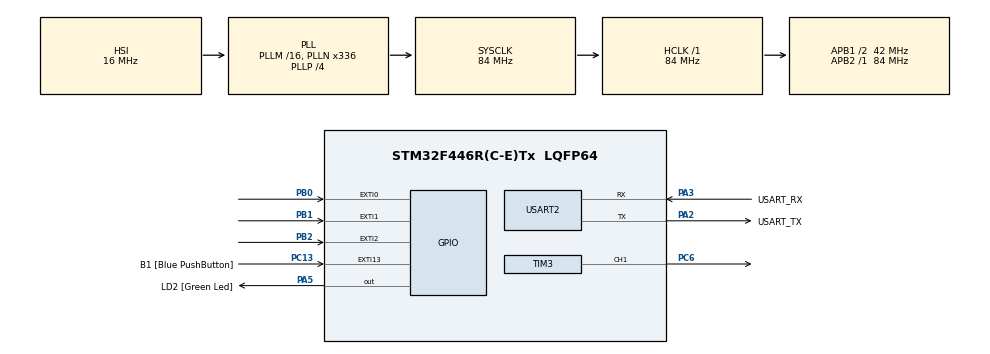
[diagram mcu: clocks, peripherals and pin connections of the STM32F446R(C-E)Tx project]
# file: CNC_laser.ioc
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IWDG.Prescaler=IWDG_PRESCALER_64
Mcu.Family=STM32F4
Mcu.Name=STM32F446R(C-E)Tx
Mcu.Package=LQFP64
NVIC.EXTI0_IRQn=true\:0\:0\:false\:false\:true\:true\:true\:true
NVIC.EXTI1_IRQn=true\:0\:0\:false\:false\:true\:true\:true\:true
NVIC.EXTI2_IRQn=true\:0\:0\:false\:false\:true\:true\:true\:true
NVIC.PriorityGroup=NVIC_PRIORITYGROUP_0
NVIC.TIM2_IRQn=true\:0\:0\:false\:false\:true\:true\:true\:true
NVIC.TIM4_IRQn=true\:0\:0\:false\:false\:true\:true\:true\:true
NVIC.USART2_IRQn=true\:0\:0\:false\:false\:true\:true\:true\:true
PA13.GPIO_Label=TMS
PA13.Mode=Serial_Wire
PA13.Signal=SYS_JTMS-SWDIO
PA14.GPIO_Label=TCK
PA14.Mode=Serial_Wire
PA14.Signal=SYS_JTCK-SWCLK
PA2.GPIO_Label=USART_TX
PA2.Mode=Asynchronous
PA2.Signal=USART2_TX
PA3.GPIO_Label=USART_RX
PA3.Mode=Asynchronous
PA3.Signal=USART2_RX
PA5.GPIO_Label=LD2 [Green Led]
PA5.Signal=GPIO_Output
PB0.GPIO_ModeDefaultEXTI=GPIO_MODE_IT_FALLING
PB0.GPIO_PuPd=GPIO_PULLDOWN
PB0.Signal=GPXTI0
PB1.GPIO_ModeDefaultEXTI=GPIO_MODE_IT_FALLING
PB1.GPIO_PuPd=GPIO_PULLDOWN
PB1.Signal=GPXTI1
PB2.GPIO_ModeDefaultEXTI=GPIO_MODE_IT_FALLING
PB2.GPIO_PuPd=GPIO_PULLDOWN
PB2.Signal=GPXTI2
PB3.GPIO_Label=SWO
PB3.Signal=SYS_JTDO-SWO
PC13.GPIO_Label=B1 [Blue PushButton]
PC13.GPIO_ModeDefaultEXTI=GPIO_MODE_IT_FALLING
PC13.Signal=GPXTI13
PC14-OSC32_IN.Mode=LSE-External-Oscillator
PC14-OSC32_IN.Signal=RCC_OSC32_IN
PC15-OSC32_OUT.Mode=LSE-External-Oscillator
PC15-OSC32_OUT.Signal=RCC_OSC32_OUT
PC6.Signal=S_TIM3_CH1
PH0-OSC_IN.Mode=HSE-External-Oscillator
PH0-OSC_IN.Signal=RCC_OSC_IN
PH1-OSC_OUT.Mode=HSE-External-Oscillator
PH1-OSC_OUT.Signal=RCC_OSC_OUT
ProjectManager.HeapSize=0x200
ProjectManager.StackSize=0x400
ProjectManager.TargetToolchain=STM32CubeIDE
RCC.48MHZClocksFreq_Value=84000000
RCC.AHBFreq_Value=84000000
RCC.APB1CLKDivider=RCC_HCLK_DIV2
RCC.APB1Freq_Value=42000000
RCC.APB1TimFreq_Value=84000000
RCC.APB2Freq_Value=84000000
RCC.APB2TimFreq_Value=84000000
RCC.CortexFreq_Value=84000000
RCC.FLatency-AdvancedSettings=FLASH_LATENCY_2
RCC.HCLKFreq_Value=84000000
RCC.HSE_VALUE=8000000
RCC.HSI_VALUE=16000000
RCC.PLLN=336
RCC.PLLP=RCC_PLLP_DIV4
RCC.SYSCLKFreq_VALUE=84000000
RCC.SYSCLKSource=RCC_SYSCLKSOURCE_PLLCLK
RCC.USBFreq_Value=168000000
RCC.VCOOutputFreq_Value=336000000
SH.S_TIM3_CH1.0=TIM3_CH1,PWM Generation1 CH1
TIM2.Prescaler=83
TIM3.Channel-PWM\ Generation1\ CH1=TIM_CHANNEL_1
TIM3.Period=999
TIM3.Prescaler=83
TIM4.Prescaler=83
USART2.VirtualMode=VM_ASYNC
VP_IWDG_VS_IWDG.Mode=IWDG_Activate
VP_TIM2_VS_ClockSourceINT.Mode=Internal
VP_TIM3_VS_ClockSourceINT.Mode=Internal
VP_TIM4_VS_ClockSourceINT.Mode=Internal
board=NUCLEO-F446RE

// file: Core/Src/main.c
/* USER CODE BEGIN Header */
/**
  ******************************************************************************
  * @file           : main.c
  * @brief          : Main program body
  ******************************************************************************
  * @attention
  *
  * Copyright (c) 2026 STMicroelectronics.
  * All rights reserved.
  *
  * This software is licensed under terms that can be found in the LICENSE file
  * in the root directory of this software component.
  * If no LICENSE file comes with this software, it is provided AS-IS.
  *
  ******************************************************************************
  */
/* USER CODE END Header */
#include "main.h"

/* USER CODE BEGIN Includes */
/* todos mis modulos propios. cada uno maneja una parte de la maquina
 * por separado (motores x/y, eje z, laser, enable de motores, homing,
 * parser de gcode), asi el main.c queda mas que nada como el que
 * conecta todo y maneja la comunicacion */
#include "corexy_config.h"
#include "homing.h"
#include "motor_enable.h"
#include "z_axis.h"
#include "laser.h"
#include "gcode_parser.h"
#include "stepper.h"
#include <stdio.h>
#include <math.h>
#include <string.h>
/* USER CODE END Includes */

TIM_HandleTypeDef htim2;
TIM_HandleTypeDef htim3;
TIM_HandleTypeDef htim4;

UART_HandleTypeDef huart2;

/* USER CODE BEGIN PV */

/* bandera de alarma: se activa cuando un final de carrera se dispara
 * de improviso en medio de un movimiento normal (no durante el homing
 * a proposito). mientras esta activa, el firmware rechaza cualquier
 * comando nuevo hasta que se mande $X a mano. asi me aseguro de que si
 * la maquina choco contra algo, no siga como si nada mientras laser
 * grbl le sigue mandando lineas del trabajo */
static volatile bool alarm_active = false;
/* esta otra bandera es para que el mensaje de alarma se mande una sola
 * vez (desde el main, nunca desde la interrupcion) aunque el switch
 * rebote mecanicamente y dispare la interrupcion varias veces por una
 * sola pulsada real */
static volatile bool alarm_message_pending = false;

/* esto es el "look ahead" simplificado: en vez de ejecutar cada linea
 * de gcode apenas llega, guardo el movimiento pendiente y espero a ver
 * la linea siguiente antes de decidir si freno al final o no. si el
 * siguiente movimiento sigue exactamente la misma direccion (mismo
 * signo de avance en x e y), no hace falta frenar entre uno y otro -
 * eso es lo que evita que el laser se quede pegado quemando de mas en
 * cada microsegmento del raster */
typedef struct {
    bool valid;
    float target_x, target_y, feed;
    float dir_x, dir_y;
    bool is_rapid;        /* true = era un G0, apagar el láser al ejecutar */
    bool has_laser_s;     /* true = esta línea traía S */
    float laser_s;        /* el valor de S a aplicar justo al ejecutar */
} PendingMove;
static PendingMove g_pending = {0};
static uint32_t g_last_line_tick = 0;
/* si no llega una linea nueva en este tiempo, asumo que no hay
 * continuacion y ejecuto el movimiento pendiente frenando normal (por
 * ejemplo, si justo esa era la ultima linea del archivo) */
#define LOOKAHEAD_TIMEOUT_MS 80

/* banderas para mandar mensajes desde el main en vez de desde las
 * interrupciones. esto es clave: si se manda un HAL_UART_Transmit()
 * directo desde una isr, puede chocar con una transmision que ya este
 * en curso desde el main, y el uart queda trabado para siempre. por
 * eso la isr SOLO prende una bandera, y el unico que transmite de
 * verdad es el main() */
static volatile uint8_t welcome_pending = 0;
static volatile uint8_t status_report_pending = 0;

/* buffer circular para los bytes que van llegando por uart. hace falta
 * porque mientras un movimiento esta en curso (stepper_move_to es
 * bloqueante) el main no puede ir leyendo el uart activamente, pero la
 * interrupcion de recepcion si sigue funcionando y puede ir guardando
 * los bytes nuevos aca hasta que el main este libre para procesarlos */
#define RX_RING_SIZE 256
static volatile uint8_t  rx_ring[RX_RING_SIZE];
static volatile uint16_t rx_ring_head = 0;
static volatile uint16_t rx_ring_tail = 0;

#define GCODE_LINE_BUF_SIZE 96
static uint8_t g_absolute_mode = 1; /* 1 = G90 (absoluto, por defecto en Grbl), 0 = G91 (relativo) */
static GcodeCommandType g_last_motion = GCODE_G1;
static float g_last_feed_mm_min = 0.0f; /* el f es modal: si una linea no lo trae, se sigue usando el ultimo que llego */
static uint8_t  rx_byte;
static char     line_buf[GCODE_LINE_BUF_SIZE];
static uint16_t line_idx = 0;
static volatile uint8_t line_ready = 0; /* esta ya no se usa para nada (quedo de una version vieja), pero no molesta */
/* USER CODE END PV */

void SystemClock_Config(void);
static void MX_GPIO_Init(void);
static void MX_USART2_UART_Init(void);
static void MX_TIM2_Init(void);
static void MX_TIM3_Init(void);
static void MX_TIM4_Init(void);
/* USER CODE BEGIN PFP */
static void flush_pending_move(bool exit_at_cruise);
static void send_status_report(UART_HandleTypeDef *huart);
static void process_gcode_line(char *raw_line);
/* USER CODE END PFP */

int main(void)
{

  /* MCU Configuration--------------------------------------------------------*/

  /* Reset of all peripherals, Initializes the Flash interface and the Systick. */
  HAL_Init();

  /* Configure the system clock */
  SystemClock_Config();

  /* Initialize all configured peripherals */
  MX_GPIO_Init();
  MX_USART2_UART_Init();
  MX_TIM2_Init();
  MX_TIM3_Init();
  MX_TIM4_Init();
  /* USER CODE BEGIN 2 */

  /* inicializo todos mis modulos. el orden ac no importa mucho entre
   * ellos, lo que si importa es que esto pase despues de que el cubemx
   * ya configuro los gpio y los timers arriba */
  homing_init();
  motor_enable_init();
  z_axis_init(&htim4);
  stepper_init(&htim2);
  laser_init(&htim3, TIM_CHANNEL_1);
  HAL_UART_Receive_IT(&huart2, &rx_byte, 1); /* arranco la recepcion por interrupcion, un byte a la vez */

  /* mando el mensaje de bienvenida tipo grbl apenas arranca, para el
   * caso de que algun programa ya este escuchando el puerto desde antes
   * de que yo conecte el cable */
  const char *welcome = "\r\nGrbl 1.1h ['$' for help]\r\n";
  HAL_UART_Transmit(&huart2, (uint8_t*)welcome, strlen(welcome), 100);
  stepper_init(&htim2); /* esto quedo duplicado de una version anterior, no hace falta pero tampoco molesta */
  HAL_UART_Receive_IT(&huart2, &rx_byte, 1);
  /* USER CODE END 2 */

  /* Infinite loop */
  /* USER CODE BEGIN WHILE */
  while (1)
  {
	  /* reviso las banderas de mensajes pendientes ANTES que nada mas,
	   * asi salen apenas se puede, no dependen de que termine de
	   * procesar otra cosa primero */
	  if (alarm_message_pending) {
	      alarm_message_pending = false;
	      const char *alarm = "ALARM: Final de carrera activado durante el movimiento\r\n";
	      HAL_UART_Transmit(&huart2, (uint8_t*)alarm, strlen(alarm), 100);
	  }
	  if (welcome_pending) {
	      welcome_pending = 0;
	      const char *welcome = "\r\nGrbl 1.1h ['$' for help]\r\n";
	      HAL_UART_Transmit(&huart2, (uint8_t*)welcome, strlen(welcome), 100);
	  }
      if (status_report_pending) {
          status_report_pending = 0;
          send_status_report(&huart2);
      }

      /* si quedo un movimiento pendiente esperando a ver si la proxima
       * linea continua en la misma direccion, y paso demasiado tiempo
       * sin que llegue nada nuevo, lo ejecuto igual frenando normal.
       * esto es importante para que no se quede "trabado" esperando
       * para siempre el ultimo segmento de un trabajo */
      if (g_pending.valid && (HAL_GetTick() - g_last_line_tick > LOOKAHEAD_TIMEOUT_MS)) {
          flush_pending_move(false); /* frena normal, no llegó continuación */
      }

      /* vacio el buffer circular armando lineas completas de texto.
       * cuando encuentro un \n o \r, ahi se termino una linea y la
       * mando a procesar */
      while (rx_ring_tail != rx_ring_head) {
          uint8_t b = rx_ring[rx_ring_tail];
          rx_ring_tail = (rx_ring_tail + 1) % RX_RING_SIZE;

          if (b == '\n' || b == '\r') {
              if (line_idx > 0) {
                  line_buf[line_idx] = '\0';
                  process_gcode_line(line_buf);
                  line_idx = 0;

                  /* Chequeamos el '?' pendiente DESPUÉS de cada línea,
                   * no solo una vez por vuelta del while externo, porque
                   * este bucle interno puede seguir de largo procesando
                   * muchas líneas sin volver arriba mientras dura un trabajo. */
                  if (status_report_pending) {
                      status_report_pending = 0;
                      send_status_report(&huart2);
                  }
              }
          } else if (line_idx < GCODE_LINE_BUF_SIZE - 1) {
              line_buf[line_idx++] = (char)b;
          }
      }
    /* USER CODE END WHILE */

    }
}

void SystemClock_Config(void)
{
  /* esto es todo generado por el cubemx, no lo toque. configura el
   * clock del sistema a 84mhz usando el pll a partir del oscilador
   * interno (hsi) */
  RCC_OscInitTypeDef RCC_OscInitStruct = {0};
  RCC_ClkInitTypeDef RCC_ClkInitStruct = {0};

  /** Configure the main internal regulator output voltage
  */
  __HAL_RCC_PWR_CLK_ENABLE();
  __HAL_PWR_VOLTAGESCALING_CONFIG(PWR_REGULATOR_VOLTAGE_SCALE3);

  /** Initializes the RCC Oscillators according to the specified parameters
  * in the RCC_OscInitTypeDef structure.
  */
  RCC_OscInitStruct.OscillatorType = RCC_OSCILLATORTYPE_HSI;
  RCC_OscInitStruct.HSIState = RCC_HSI_ON;
  RCC_OscInitStruct.HSICalibrationValue = RCC_HSICALIBRATION_DEFAULT;
  RCC_OscInitStruct.PLL.PLLState = RCC_PLL_ON;
  RCC_OscInitStruct.PLL.PLLSource = RCC_PLLSOURCE_HSI;
  RCC_OscInitStruct.PLL.PLLM = 16;
  RCC_OscInitStruct.PLL.PLLN = 336;
  RCC_OscInitStruct.PLL.PLLP = RCC_PLLP_DIV4;
  RCC_OscInitStruct.PLL.PLLQ = 2;
  RCC_OscInitStruct.PLL.PLLR = 2;
  if (HAL_RCC_OscConfig(&RCC_OscInitStruct) != HAL_OK)
  {
    Error_Handler();
  }

  /** Initializes the CPU, AHB and APB buses clocks
  */
  RCC_ClkInitStruct.ClockType = RCC_CLOCKTYPE_HCLK|RCC_CLOCKTYPE_SYSCLK
                              |RCC_CLOCKTYPE_PCLK1|RCC_CLOCKTYPE_PCLK2;
  RCC_ClkInitStruct.SYSCLKSource = RCC_SYSCLKSOURCE_PLLCLK;
  RCC_ClkInitStruct.AHBCLKDivider = RCC_SYSCLK_DIV1;
  RCC_ClkInitStruct.APB1CLKDivider = RCC_HCLK_DIV2;
  RCC_ClkInitStruct.APB2CLKDivider = RCC_HCLK_DIV1;

  if (HAL_RCC_ClockConfig(&RCC_ClkInitStruct, FLASH_LATENCY_2) != HAL_OK)
  {
    Error_Handler();
  }
}

static void MX_TIM2_Init(void)
{
  /* tim2 es el timer que uso para generar los pasos de x/y (stepper.c).
   * el prescaler=83 sobre un clock de apb1 de 84mhz da un tick de
   * exactamente 1us, que es la unidad que uso en todo el codigo de
   * movimiento para calcular los periodos entre pasos */

  TIM_ClockConfigTypeDef sClockSourceConfig = {0};
  TIM_MasterConfigTypeDef sMasterConfig = {0};

  htim2.Instance = TIM2;
  htim2.Init.Prescaler = 83;
  htim2.Init.CounterMode = TIM_COUNTERMODE_UP;
  htim2.Init.Period = 4294967295;
  htim2.Init.ClockDivision = TIM_CLOCKDIVISION_DIV1;
  htim2.Init.AutoReloadPreload = TIM_AUTORELOAD_PRELOAD_DISABLE;
  if (HAL_TIM_Base_Init(&htim2) != HAL_OK)
  {
    Error_Handler();
  }
  sClockSourceConfig.ClockSource = TIM_CLOCKSOURCE_INTERNAL;
  if (HAL_TIM_ConfigClockSource(&htim2, &sClockSourceConfig) != HAL_OK)
  {
    Error_Handler();
  }
  sMasterConfig.MasterOutputTrigger = TIM_TRGO_RESET;
  sMasterConfig.MasterSlaveMode = TIM_MASTERSLAVEMODE_DISABLE;
  if (HAL_TIMEx_MasterConfigSynchronization(&htim2, &sMasterConfig) != HAL_OK)
  {
    Error_Handler();
  }

}

static void MX_TIM3_Init(void)
{
  /* tim3 genera el pwm del laser (canal 1, pin pc6). period=999 define
   * la frecuencia del pwm (con prescaler=83 sobre 84mhz, cada tick es
   * 1us, entonces 999+1 ticks de periodo = 1khz de pwm, que esta
   * dentro de lo que acepta el modulo laser). el duty cycle (0 a 999)
   * es lo que controla laser.c segun la potencia s que venga del gcode */

  TIM_ClockConfigTypeDef sClockSourceConfig = {0};
  TIM_MasterConfigTypeDef sMasterConfig = {0};
  TIM_OC_InitTypeDef sConfigOC = {0};

  htim3.Instance = TIM3;
  htim3.Init.Prescaler = 83;
  htim3.Init.CounterMode = TIM_COUNTERMODE_UP;
  htim3.Init.Period = 999;
  htim3.Init.ClockDivision = TIM_CLOCKDIVISION_DIV1;
  htim3.Init.AutoReloadPreload = TIM_AUTORELOAD_PRELOAD_DISABLE;
  if (HAL_TIM_Base_Init(&htim3) != HAL_OK)
  {
    Error_Handler();
  }
  sClockSourceConfig.ClockSource = TIM_CLOCKSOURCE_INTERNAL;
  if (HAL_TIM_ConfigClockSource(&htim3, &sClockSourceConfig) != HAL_OK)
  {
    Error_Handler();
  }
  if (HAL_TIM_PWM_Init(&htim3) != HAL_OK)
  {
    Error_Handler();
  }
  sMasterConfig.MasterOutputTrigger = TIM_TRGO_RESET;
  sMasterConfig.MasterSlaveMode = TIM_MASTERSLAVEMODE_DISABLE;
  if (HAL_TIMEx_MasterConfigSynchronization(&htim3, &sMasterConfig) != HAL_OK)
  {
    Error_Handler();
  }
  sConfigOC.OCMode = TIM_OCMODE_PWM1;
  sConfigOC.Pulse = 0;
  sConfigOC.OCPolarity = TIM_OCPOLARITY_HIGH;
  sConfigOC.OCFastMode = TIM_OCFAST_DISABLE;
  if (HAL_TIM_PWM_ConfigChannel(&htim3, &sConfigOC, TIM_CHANNEL_1) != HAL_OK)
  {
    Error_Handler();
  }
  HAL_TIM_MspPostInit(&htim3);

}

static void MX_TIM4_Init(void)
{
  /* tim4 es el timer de pasos del eje z (mismo criterio que tim2 pero
   * para z_axis.c) */

  TIM_ClockConfigTypeDef sClockSourceConfig = {0};
  TIM_MasterConfigTypeDef sMasterConfig = {0};

  htim4.Instance = TIM4;
  htim4.Init.Prescaler = 83;
  htim4.Init.CounterMode = TIM_COUNTERMODE_UP;
  htim4.Init.Period = 65535;
  htim4.Init.ClockDivision = TIM_CLOCKDIVISION_DIV1;
  htim4.Init.AutoReloadPreload = TIM_AUTORELOAD_PRELOAD_DISABLE;
  if (HAL_TIM_Base_Init(&htim4) != HAL_OK)
  {
    Error_Handler();
  }
  sClockSourceConfig.ClockSource = TIM_CLOCKSOURCE_INTERNAL;
  if (HAL_TIM_ConfigClockSource(&htim4, &sClockSourceConfig) != HAL_OK)
  {
    Error_Handler();
  }
  sMasterConfig.MasterOutputTrigger = TIM_TRGO_RESET;
  sMasterConfig.MasterSlaveMode = TIM_MASTERSLAVEMODE_DISABLE;
  if (HAL_TIMEx_MasterConfigSynchronization(&htim4, &sMasterConfig) != HAL_OK)
  {
    Error_Handler();
  }

}

static void MX_USART2_UART_Init(void)
{
  /* usart2 (pa2/pa3) es el puerto que usa la nucleo para salir por el
   * mismo cable usb del st-link como puerto com virtual. por eso no
   * hace falta ningun adaptador externo para hablar con la pc */

  huart2.Instance = USART2;
  huart2.Init.BaudRate = 115200;
  huart2.Init.WordLength = UART_WORDLENGTH_8B;
  huart2.Init.StopBits = UART_STOPBITS_1;
  huart2.Init.Parity = UART_PARITY_NONE;
  huart2.Init.Mode = UART_MODE_TX_RX;
  huart2.Init.HwFlowCtl = UART_HWCONTROL_NONE;
  huart2.Init.OverSampling = UART_OVERSAMPLING_16;
  if (HAL_UART_Init(&huart2) != HAL_OK)
  {
    Error_Handler();
  }

}

static void MX_GPIO_Init(void)
{
  GPIO_InitTypeDef GPIO_InitStruct = {0};

  /* GPIO Ports Clock Enable */
  __HAL_RCC_GPIOC_CLK_ENABLE();
  __HAL_RCC_GPIOH_CLK_ENABLE();
  __HAL_RCC_GPIOA_CLK_ENABLE();
  __HAL_RCC_GPIOB_CLK_ENABLE();

  /*Configure GPIO pin Output Level */
  HAL_GPIO_WritePin(LD2_GPIO_Port, LD2_Pin, GPIO_PIN_RESET);

  /*Configure GPIO pin : B1_Pin */
  GPIO_InitStruct.Pin = B1_Pin;
  GPIO_InitStruct.Mode = GPIO_MODE_IT_FALLING;
  GPIO_InitStruct.Pull = GPIO_NOPULL;
  HAL_GPIO_Init(B1_GPIO_Port, &GPIO_InitStruct);

  /*Configure GPIO pin : LD2_Pin */
  GPIO_InitStruct.Pin = LD2_Pin;
  GPIO_InitStruct.Mode = GPIO_MODE_OUTPUT_PP;
  GPIO_InitStruct.Pull = GPIO_NOPULL;
  GPIO_InitStruct.Speed = GPIO_SPEED_FREQ_LOW;
  HAL_GPIO_Init(LD2_GPIO_Port, &GPIO_InitStruct);

  /*Configure GPIO pins : PB0 PB1 PB2 */
  /* estos 3 son los finales de carrera de x, y, z. los configure como
   * interrupcion externa con flanco descendente (no como entrada
   * comun) para que cualquier toque de un switch en medio de un
   * movimiento normal dispare al toque la parada de emergencia, sin
   * depender de que el codigo este en ese momento revisando el pin */
  GPIO_InitStruct.Pin = GPIO_PIN_0|GPIO_PIN_1|GPIO_PIN_2;
  GPIO_InitStruct.Mode = GPIO_MODE_IT_FALLING;
  GPIO_InitStruct.Pull = GPIO_PULLDOWN;
  HAL_GPIO_Init(GPIOB, &GPIO_InitStruct);

  /* EXTI interrupt init*/
  HAL_NVIC_SetPriority(EXTI0_IRQn, 0, 0);
  HAL_NVIC_EnableIRQ(EXTI0_IRQn);

  HAL_NVIC_SetPriority(EXTI1_IRQn, 0, 0);
  HAL_NVIC_EnableIRQ(EXTI1_IRQn);

  HAL_NVIC_SetPriority(EXTI2_IRQn, 0, 0);
  HAL_NVIC_EnableIRQ(EXTI2_IRQn);

  /* USER CODE BEGIN MX_GPIO_Init_2 */
  /* ac configuro a mano los pines de step/dir de los motores a y b
   * (x/y) y del eje z, todos en el puerto c. los dejo como salida
   * push-pull normal, nada de especial, porque los manejo directo con
   * HAL_GPIO_WritePin desde stepper.c/z_axis.c, no uso ningun
   * periferico de hardware para esto (son gpio comunes, el timing lo
   * hace software con el timer de pasos) */
  GPIO_InitTypeDef motor_gpio = {0};
  __HAL_RCC_GPIOC_CLK_ENABLE(); /* ya está habilitado más arriba, pero no molesta repetirlo */

  motor_gpio.Pin = GPIO_PIN_0 | GPIO_PIN_1 | GPIO_PIN_2 | GPIO_PIN_3 | GPIO_PIN_4 | GPIO_PIN_5;
  motor_gpio.Mode = GPIO_MODE_OUTPUT_PP;
  motor_gpio.Pull = GPIO_NOPULL;
  motor_gpio.Speed = GPIO_SPEED_FREQ_HIGH;
  HAL_GPIO_Init(GPIOC, &motor_gpio);
  /* USER CODE END MX_GPIO_Init_2 */
}

/* USER CODE BEGIN 4 */

/* convierte un float a texto con 3 decimales fijos, sin usar printf con
 * %f (que en este toolchain embebido no siempre anda bien con floats
 * sin configuracion extra, asi que lo hago a mano con enteros) */
static void format_float3(float value, char *out, size_t out_size)
{
    int sign = (value < 0.0f) ? -1 : 1;
    float absval = value * sign;
    int32_t scaled = (int32_t)lroundf(absval * 1000.0f);
    int32_t whole = scaled / 1000;
    int32_t frac  = scaled % 1000;
    snprintf(out, out_size, "%s%ld.%03ld", (sign < 0) ? "-" : "", (long)whole, (long)frac);
}

/* arma y manda el reporte de estado que laser grbl pide con el
 * caracter '?'. el formato "<Idle|MPos:x,y,z|FS:f,s>" es el que usa
 * grbl de verdad, lo imito para que laser grbl lo entienda y pueda
 * mostrar la posicion actual en su interfaz. por ahora mando z fijo en
 * 0.000 porque no lo estoy reportando todavia (se podria agregar
 * despues si hace falta) */
static void send_status_report(UART_HandleTypeDef *huart)
{
    float x, y;
    stepper_get_position(&x, &y);
    char xs[16], ys[16], msg[64];
    format_float3(x, xs, sizeof(xs));
    format_float3(y, ys, sizeof(ys));
    int len = snprintf(msg, sizeof(msg), "<Idle|MPos:%s,%s,0.000|FS:0,0>\r\n", xs, ys);
    HAL_UART_Transmit(huart, (uint8_t*)msg, len, 100);
}

/* ejecuta el movimiento que quedo "pendiente" esperando a ver si el
 * siguiente seguia la misma direccion. exit_at_cruise le dice a
 * stepper_move_to si tiene que frenar al final o no (eso ya se decidio
 * afuera, comparando con la linea que acaba de llegar).
 *
 * uso una variable static (last_entered_at_cruise) para acordarme como
 * salio el movimiento ANTERIOR, porque eso define como entra este: si
 * el anterior no freno (salio a velocidad de crucero), este tiene que
 * entrar directo a crucero tambien, sin perder tiempo acelerando de
 * nuevo de cero */
static void flush_pending_move(bool exit_at_cruise)
{
    if (!g_pending.valid) return;
    static bool last_entered_at_cruise = false;

    if (g_pending.is_rapid) {
        laser_force_off_for_rapid();
    } else if (g_pending.has_laser_s) {
        laser_set_power(g_pending.laser_s);
    }

    motors_enable();
    stepper_move_to(g_pending.target_x, g_pending.target_y, g_pending.feed,
                     last_entered_at_cruise, exit_at_cruise);
    last_entered_at_cruise = exit_at_cruise;
    g_pending.valid = false;
}

/* esta es la funcion mas importante de todo el firmware: recibe una
 * linea de texto ya armada (sin \r\n) y decide que hacer con ella. se
 * llama una vez por cada linea de gcode que llega completa desde el
 * buffer circular */
static void process_gcode_line(char *raw_line)
{
    char *gcode_str = raw_line;
    uint8_t is_jog = 0;

    /* $X es el comando de grbl para desbloquear la alarma. lo chequeo
     * primero que nada, antes incluso de ver si hay una alarma activa,
     * porque si no nunca se podria salir de la alarma */
    if (raw_line[0] == '$' && raw_line[1] == 'X' && raw_line[2] == '\0') {
        alarm_active = false;
        HAL_UART_Transmit(&huart2, (uint8_t*)"ok\r\n", 4, 100);
        return;
    }

    /* si esta en alarma (por un final de carrera que se activo de
     * improviso), rechazo cualquier otra cosa que llegue hasta que
     * manden $X. ni siquiera llego a parsear la linea */
    if (alarm_active) {
        const char *err = "ALARM: Máquina bloqueada por un final de carrera. Mandá $X para desbloquear.\r\n";
        HAL_UART_Transmit(&huart2, (uint8_t*)err, strlen(err), 100);
        return;
    }

    /* comandos que arrancan con $ son comandos especiales de grbl, no
     * gcode normal */
    if (raw_line[0] == '$') {
        if (raw_line[1] == 'J' && raw_line[2] == '=') {
            /* $J=... es un comando de jog (los botones de flecha de
             * laser grbl mandan esto). le saco el prefijo y lo trato
             * como una linea de gcode normal de ahi en mas */
            gcode_str = &raw_line[3];
            is_jog = 1;
        } else if (raw_line[1] == 'H' && raw_line[2] == '\0') {
            /* $H es homing */
            bool ok = homing_run();
            if (ok) {
                /* homing_run ya deja todo en 0 internamente, pero lo
                 * vuelvo a fijar ac por las dudas, no cuesta nada */
                stepper_set_position(0.0f, 0.0f);
                z_axis_set_position(0.0f);
                HAL_UART_Transmit(&huart2, (uint8_t*)"ok\r\n", 4, 100);
            } else {
                const char *err = "ALARM: Homing falló (algún switch nunca se activó)\r\n";
                HAL_UART_Transmit(&huart2, (uint8_t*)err, strlen(err), 100);
            }
            return;
        } else {
            /* otros comandos $ (tipo $$, $G, etc) por ahora solo los
             * confirmo sin hacer nada, para que laser grbl no se quede
             * esperando una respuesta que nunca llega */
            HAL_UART_Transmit(&huart2, (uint8_t*)"ok\r\n", 4, 100);
            return;
        }
    }

    GcodeCommand cmd = {0};
    if (gcode_parse_line(gcode_str, &cmd)) {

    	/* si esta linea NO es una continuacion de movimiento (viene un
    	 * g0, un cambio de z, apagar el laser, o desactivar motores),
    	 * primero tengo que ejecutar lo que haya quedado pendiente del
    	 * encadenado de segmentos. sino ese ultimo tramo se perderia o
    	 * se mezclaria mal con esta linea nueva */
        if (cmd.has_g90) g_absolute_mode = 1;
        if (cmd.has_g91) g_absolute_mode = 0;
        if (cmd.has_m3 || cmd.has_m4) {
            laser_enable();
        }
        if (cmd.has_m84) {
            motors_disable();
        }
        if (cmd.has_m17) {
            motors_enable();
        }
        if (cmd.has_m5) {
            laser_disable();
        }
        uint8_t explicit_motion = (cmd.type == GCODE_G0 || cmd.type == GCODE_G1);
        if (explicit_motion) g_last_motion = cmd.type;

        /* en todo g0 apago el laser de una, sin importar si la linea
         * trae s o no. esto imita lo que hace un grbl real en modo
         * laser: nunca se quiere que el laser quede prendido durante
         * un traslado rapido, es una cuestion de seguridad */
        if (cmd.type == GCODE_G0) {
            laser_force_off_for_rapid();
        }

        /* should_move me dice si esta linea trae alguna coordenada de
         * x o y (gcode modal: puede venir sin g0/g1 explicito y aun
         * asi ser un movimiento valido, eso ya lo resuelve el parser) */
        uint8_t should_move = (cmd.has_x || cmd.has_y);
        (void)g_last_motion; /* reservado para cuando distingamos velocidad G0 vs G1 */

        /* si hay que moverse pero los motores estan desactivados (m84),
         * aviso y no ejecuto nada. este chequeo quedo duplicado dos
         * veces seguidas de cuando lo fui armando, no hace falta pero
         * tampoco rompe nada dejarlo asi */
        if (should_move && !motors_are_enabled()) {
            const char *warn = "WARNING: Motores desactivados (M84). Mandá M17 para reactivar.\r\n";
            HAL_UART_Transmit(&huart2, (uint8_t*)warn, strlen(warn), 100);
            should_move = 0; /* no ejecutamos el movimiento */
        }
        if (should_move && !motors_are_enabled()) {
            const char *warn = "WARNING: Motores desactivados (M84). Mandá M17 para reactivar.\r\n";
            HAL_UART_Transmit(&huart2, (uint8_t*)warn, strlen(warn), 100);
            should_move = 0;
        }

        if (should_move) {
            float cur_x, cur_y;
            stepper_get_position(&cur_x, &cur_y);
            if (g_pending.valid) {
                /* si ya hay un movimiento pendiente en cola, calculo
                 * esta nueva linea a partir de DONDE VA A TERMINAR ese
                 * pendiente, no de donde esta la maquina ahora mismo
                 * (que todavia no se movio fisicamente) */
                cur_x = g_pending.target_x;
                cur_y = g_pending.target_y;
            }

            float target_x, target_y;
            if (g_absolute_mode) {
                target_x = cmd.has_x ? cmd.x : cur_x;
                target_y = cmd.has_y ? cmd.y : cur_y;
            } else {
                target_x = cur_x + (cmd.has_x ? cmd.x : 0.0f);
                target_y = cur_y + (cmd.has_y ? cmd.y : 0.0f);
            }

            /* limite de software del area de trabajo. esto solo tiene
             * sentido real despues de haber hecho $H, porque antes de
             * eso la posicion 0 es arbitraria y no corresponde a
             * ninguna esquina fisica de verdad */
            if (target_x < 0.0f || target_x > WORKSPACE_X_MAX_MM ||
                target_y < 0.0f || target_y > WORKSPACE_Y_MAX_MM) {
                const char *err = "ALARM: Movimiento fuera del área de trabajo\r\n";
                HAL_UART_Transmit(&huart2, (uint8_t*)err, strlen(err), 100);
            } else {
                if (cmd.has_f) {
                    g_last_feed_mm_min = cmd.f;
                }
                float feed = g_last_feed_mm_min;

                /* calculo la direccion normalizada (un vector unitario)
                 * de este movimiento, para despues poder comparar con
                 * el siguiente y ver si siguen exactamente la misma
                 * direccion */
                float new_dx = target_x - cur_x;
                float new_dy = target_y - cur_y;
                float new_len = sqrtf(new_dx*new_dx + new_dy*new_dy);
                float new_dir_x = (new_len > 1e-4f) ? (new_dx / new_len) : 0.0f;
                float new_dir_y = (new_len > 1e-4f) ? (new_dy / new_len) : 0.0f;

                if (g_pending.valid) {
                    /* producto punto entre las dos direcciones: si da
                     * practicamente 1, significa que apuntan para el
                     * mismo lado exacto (colineales), asi que no hace
                     * falta frenar entre uno y otro */
                    float dot = g_pending.dir_x * new_dir_x + g_pending.dir_y * new_dir_y;
                    bool continues = (dot > 0.999f);
                    flush_pending_move(continues);
                }

                /* esta linea queda como la nueva pendiente, todavia no
                 * se ejecuta: se ejecuta recien cuando llegue la
                 * proxima (ahi se decide si frena o no) o si pasa
                 * mucho tiempo sin que llegue nada mas (ver el timeout
                 * en el while principal) */
                g_pending.valid = true;
                g_pending.target_x = target_x;
                g_pending.target_y = target_y;
                g_pending.feed = feed;
                g_pending.dir_x = new_dir_x;
                g_pending.dir_y = new_dir_y;
                g_pending.is_rapid = (cmd.type == GCODE_G0);
                g_pending.has_laser_s = cmd.has_s;
                g_pending.laser_s = cmd.s;
                g_last_line_tick = HAL_GetTick();
            }
        }

        /* el eje z se maneja aparte, no entra en el encadenado de
         * segmentos de x/y (normalmente se usa para ajustar el foco
         * antes de grabar, no en medio de un trazo) */
        if (cmd.has_z) {
            if (!motors_are_enabled()) {
                const char *warn = "WARNING: Motores desactivados (M84). Mandá M17 para reactivar.\r\n";
                HAL_UART_Transmit(&huart2, (uint8_t*)warn, strlen(warn), 100);
            } else {
                float target_z;
                float cur_z;
                z_axis_get_position(&cur_z);
                if (g_absolute_mode) {
                    target_z = cmd.z;
                } else {
                    target_z = cur_z + cmd.z;
                }
                float feed = cmd.has_f ? cmd.f : g_last_feed_mm_min;
                if (target_z < 0.0f || target_z > WORKSPACE_Z_MAX_MM) {
                    const char *err = "ALARM: Movimiento fuera del área de trabajo (Z)\r\n";
                    HAL_UART_Transmit(&huart2, (uint8_t*)err, strlen(err), 100);
                } else {
                    z_axis_move_to(target_z, feed);
                }
            }
        }
    }
    /* respondo ok al final de cualquier linea que haya llegado hasta
     * aca (haya hecho algo o no), porque laser grbl necesita este ok
     * para saber que puede mandar la siguiente linea de la cola */
    HAL_UART_Transmit(&huart2, (uint8_t*)"ok\r\n", 4, 100);
}

/* interrupcion de recepcion de uart: se dispara una vez por cada byte
 * que llega. ojo que esto corre en contexto de interrupcion, asi que
 * tiene que ser lo mas rapido y simple posible - por eso nunca
 * transmite nada directo, solo guarda bytes en el buffer circular o
 * prende banderas para que el main() se encargue despues */
void HAL_UART_RxCpltCallback(UART_HandleTypeDef *huart)
{
    if (huart->Instance == USART2)
    {
        if (rx_byte == '?') {
            /* '?' es un comando de "tiempo real" de grbl: no es parte
             * de una linea, pide el estado actual ya mismo. no lo meto
             * en el buffer de lineas, solo prendo la bandera */
            status_report_pending = 1;
        } else if (rx_byte == 0x18) {
            /* Ctrl-X: comando de soft-reset de Grbl. LaserGRBL lo manda
             * al conectar esperando ver de nuevo el mensaje de bienvenida. */
            welcome_pending = 1;
        } else {
            /* byte normal de gcode: lo guardo en el buffer circular.
             * si el buffer esta lleno (no deberia pasar nunca con 256
             * bytes de margen) simplemente se pierde ese byte en vez
             * de romper algo */
            uint16_t next_head = (rx_ring_head + 1) % RX_RING_SIZE;
            if (next_head != rx_ring_tail) {
                rx_ring[rx_ring_head] = rx_byte;
                rx_ring_head = next_head;
            }
        }
        HAL_UART_Receive_IT(huart, &rx_byte, 1); /* rearmo la recepcion para el proximo byte */
    }
}

/* interrupcion externa de los 3 finales de carrera. esto es lo que da
 * la parada de emergencia de verdad: si se activa un switch en medio
 * de un movimiento normal (no durante el homing a proposito), corta
 * todo al instante sin importar en que estaba ocupado el firmware en
 * ese momento */
void HAL_GPIO_EXTI_Callback(uint16_t GPIO_Pin)
{
    if (homing_is_active()) {
        /* si estamos homeando, tocar el switch es justo lo que se
         * espera que pase, asi que no hago nada aca: lo maneja el
         * propio homing.c con su propio polling */
        return;
    }

    if (GPIO_Pin == X_LIMIT_PIN || GPIO_Pin == Y_LIMIT_PIN || GPIO_Pin == Z_LIMIT_PIN) {
        stepper_emergency_stop();
        z_axis_emergency_stop();
        laser_disable();
        g_pending.valid = false; /* descarto cualquier movimiento que hubiera quedado en cola */

        /* los switches mecanicos rebotan (hacen varios contactos en
         * milisegundos por una sola pulsada fisica), asi que esta
         * interrupcion se puede disparar varias veces seguidas por un
         * solo choque real. por eso solo prendo la bandera del mensaje
         * la primera vez, para no mandar el aviso repetido un monton
         * de veces */
        if (!alarm_active) {
            alarm_message_pending = true;
        }
        alarm_active = true;
    }
}

/* interrupcion del timer: se llama cada vez que vence el periodo
 * configurado, tanto para tim2 (pasos de x/y) como para tim4 (pasos de
 * z). cada uno delega a su propio modulo */
void HAL_TIM_PeriodElapsedCallback(TIM_HandleTypeDef *htim)
{
    if (htim->Instance == TIM2) {
        stepper_timer_isr();
    } else if (htim->Instance == TIM4) {
        z_axis_timer_isr();
    }
}
/* USER CODE END 4 */

void Error_Handler(void)
{
  __disable_irq();
  while (1)
  {
  }
}
